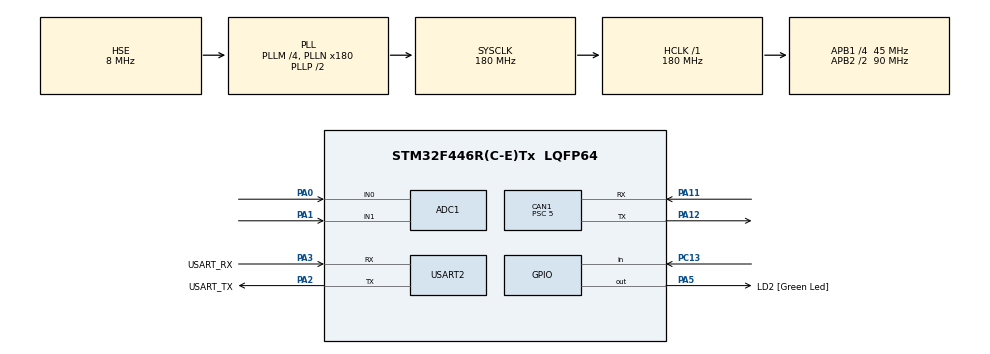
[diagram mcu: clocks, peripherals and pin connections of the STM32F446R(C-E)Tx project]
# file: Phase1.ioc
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ADC1.Channel-0\#ChannelRegularConversion=ADC_CHANNEL_0
ADC1.Channel-1\#ChannelRegularConversion=ADC_CHANNEL_1
ADC1.NbrOfConversion=2
ADC1.NbrOfConversionFlag=1
ADC1.Rank-0\#ChannelRegularConversion=1
ADC1.Rank-1\#ChannelRegularConversion=2
ADC1.SamplingTime-0\#ChannelRegularConversion=ADC_SAMPLETIME_3CYCLES
ADC1.SamplingTime-1\#ChannelRegularConversion=ADC_SAMPLETIME_3CYCLES
ADC1.ScanConvMode=ENABLE
ADC1.master=1
CAN1.ABOM=ENABLE
CAN1.BS1=CAN_BS1_14TQ
CAN1.BS2=CAN_BS2_3TQ
CAN1.CalculateBaudRate=500000
CAN1.CalculateTimeBit=2000
CAN1.CalculateTimeQuantum=111.11111111111111
CAN1.Mode=CAN_MODE_NORMAL
CAN1.NART=ENABLE
CAN1.Prescaler=5
Mcu.Family=STM32F4
Mcu.Name=STM32F446R(C-E)Tx
Mcu.Package=LQFP64
NVIC.PriorityGroup=NVIC_PRIORITYGROUP_0
PA0-WKUP.Signal=ADCx_IN0
PA1.Signal=ADCx_IN1
PA11.Mode=CAN_Activate
PA11.Signal=CAN1_RX
PA12.Mode=CAN_Activate
PA12.Signal=CAN1_TX
PA13.Signal=SYS_JTMS-SWDIO
PA14.GPIO_Label=TCK
PA14.Signal=SYS_JTCK-SWCLK
PA2.GPIO_Label=USART_TX
PA2.Mode=Asynchronous
PA2.Signal=USART2_TX
PA3.GPIO_Label=USART_RX
PA3.Mode=Asynchronous
PA3.Signal=USART2_RX
PA5.GPIO_Label=LD2 [Green Led]
PA5.Signal=GPIO_Output
PB3.GPIO_Label=SWO
PB3.Signal=SYS_JTDO-SWO
PC13.Signal=GPIO_Input
PC14-OSC32_IN.Mode=LSE-External-Oscillator
PC14-OSC32_IN.Signal=RCC_OSC32_IN
PC15-OSC32_OUT.Mode=LSE-External-Oscillator
PC15-OSC32_OUT.Signal=RCC_OSC32_OUT
PH0-OSC_IN.Mode=HSE-External-Clock-Source
PH0-OSC_IN.Signal=RCC_OSC_IN
PH1-OSC_OUT.Mode=HSE-External-Clock-Source
PH1-OSC_OUT.Signal=RCC_OSC_OUT
ProjectManager.HeapSize=0x200
ProjectManager.StackSize=0x400
ProjectManager.TargetToolchain=STM32CubeIDE
RCC.48MHZClocksFreq_Value=84000000
RCC.AHBFreq_Value=180000000
RCC.APB1CLKDivider=RCC_HCLK_DIV4
RCC.APB1Freq_Value=45000000
RCC.APB1TimFreq_Value=90000000
RCC.APB2CLKDivider=RCC_HCLK_DIV2
RCC.APB2Freq_Value=90000000
RCC.APB2TimFreq_Value=180000000
RCC.CortexFreq_Value=180000000
RCC.FLatency-AdvancedSettings=FLASH_LATENCY_5
RCC.HCLKFreq_Value=180000000
RCC.HSE_VALUE=8000000
RCC.HSI_VALUE=16000000
RCC.PLLM=4
RCC.PLLN=180
RCC.PLLSourceVirtual=RCC_PLLSOURCE_HSE
RCC.SYSCLKFreq_VALUE=180000000
RCC.SYSCLKSource=RCC_SYSCLKSOURCE_PLLCLK
RCC.USBFreq_Value=180000000
RCC.VCOOutputFreq_Value=360000000
SH.ADCx_IN0.0=ADC1_IN0,IN0
SH.ADCx_IN1.0=ADC1_IN1,IN1
USART2.VirtualMode=VM_ASYNC
board=NUCLEO-F446RE

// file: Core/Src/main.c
/* USER CODE BEGIN Header */
/**
  ******************************************************************************
  * @file           : main.c
  * @brief          : NODE A - Driver Interface Unit (DIU)
  * Reads Accelerator & Brake -> Sends via CAN FD/Std
  ******************************************************************************
  */
/* USER CODE END Header */
#include "main.h"

ADC_HandleTypeDef hadc1;
CAN_HandleTypeDef hcan1;
UART_HandleTypeDef huart2;

/* USER CODE BEGIN PV */
// --- CAN VARIABLES ---
CAN_TxHeaderTypeDef TxHeader;
uint32_t TxMailbox;
uint8_t TxData[8];

// --- SENSOR DATA ---
uint16_t raw_brake = 0;
uint16_t raw_accel = 0;
uint8_t brake_pedal_pct = 0;
uint8_t accel_pedal_pct = 0;
/* USER CODE END PV */

void SystemClock_Config(void);
static void MX_GPIO_Init(void);
static void MX_USART2_UART_Init(void);
static void MX_CAN1_Init(void);
static void MX_ADC1_Init(void);

int main(void)
{
  /* MCU Configuration--------------------------------------------------------*/
  HAL_Init();
  SystemClock_Config(); // 180 MHz Clock

  /* Initialize all configured peripherals */
  MX_GPIO_Init();
  MX_USART2_UART_Init();
  MX_CAN1_Init();
  MX_ADC1_Init();

  /* USER CODE BEGIN 2 */
  // 1. CONFIGURE CAN HEADER
  TxHeader.StdId = 0x102;          // ID 0x102 (Driver Command)
  TxHeader.ExtId = 0x01;
  TxHeader.RTR = CAN_RTR_DATA;
  TxHeader.IDE = CAN_ID_STD;
  TxHeader.DLC = 8;                // 8 Bytes of Data
  TxHeader.TransmitGlobalTime = DISABLE;

  // 2. START CAN BUS
  if (HAL_CAN_Start(&hcan1) != HAL_OK)
  {
    Error_Handler();
  }
  /* USER CODE END 2 */

  /* Infinite loop */
  /* USER CODE BEGIN WHILE */
    while (1)
    {
        /* --- ROBUST MANUAL SAMPLING --- */
        ADC_ChannelConfTypeDef sConfig = {0};

        // 1. READ BRAKE (Channel 0)
        sConfig.Channel = ADC_CHANNEL_0;
        sConfig.Rank = 1;
        sConfig.SamplingTime = ADC_SAMPLETIME_3CYCLES;
        HAL_ADC_ConfigChannel(&hadc1, &sConfig);

        HAL_ADC_Start(&hadc1);
        if (HAL_ADC_PollForConversion(&hadc1, 10) == HAL_OK)
        {
            raw_brake = HAL_ADC_GetValue(&hadc1);
        }
        HAL_ADC_Stop(&hadc1);

        // 2. READ ACCELERATOR (Channel 1)
        sConfig.Channel = ADC_CHANNEL_1;
        sConfig.Rank = 1;
        HAL_ADC_ConfigChannel(&hadc1, &sConfig);

        HAL_ADC_Start(&hadc1);
        if (HAL_ADC_PollForConversion(&hadc1, 10) == HAL_OK)
        {
            raw_accel = HAL_ADC_GetValue(&hadc1);
        }
        HAL_ADC_Stop(&hadc1);

        /* --- CONVERT & SEND --- */
        brake_pedal_pct = (raw_brake * 100) / 4095;
        accel_pedal_pct = (raw_accel * 100) / 4095;

        // Safety Clamp
        if (brake_pedal_pct > 100) brake_pedal_pct = 100;
        if (accel_pedal_pct > 100) accel_pedal_pct = 100;

        // Pack CAN Frame
        TxData[0] = accel_pedal_pct;
        TxData[1] = brake_pedal_pct;

        if (HAL_CAN_GetTxMailboxesFreeLevel(&hcan1) > 0)
        {
            HAL_CAN_AddTxMessage(&hcan1, &TxHeader, TxData, &TxMailbox);
            // Toggle LED to confirm transmission
            HAL_GPIO_TogglePin(GPIOA, GPIO_PIN_5);
        }

        HAL_Delay(10);
    }
  /* USER CODE END WHILE */
}

void SystemClock_Config(void)
{
  RCC_OscInitTypeDef RCC_OscInitStruct = {0};
  RCC_ClkInitTypeDef RCC_ClkInitStruct = {0};

  __HAL_RCC_PWR_CLK_ENABLE();
  __HAL_PWR_VOLTAGESCALING_CONFIG(PWR_REGULATOR_VOLTAGE_SCALE1);

  RCC_OscInitStruct.OscillatorType = RCC_OSCILLATORTYPE_HSE;
  RCC_OscInitStruct.HSEState = RCC_HSE_BYPASS;
  RCC_OscInitStruct.PLL.PLLState = RCC_PLL_ON;
  RCC_OscInitStruct.PLL.PLLSource = RCC_PLLSOURCE_HSE;
  RCC_OscInitStruct.PLL.PLLM = 4;
  RCC_OscInitStruct.PLL.PLLN = 180;
  RCC_OscInitStruct.PLL.PLLP = RCC_PLLP_DIV2;
  RCC_OscInitStruct.PLL.PLLQ = 2;
  RCC_OscInitStruct.PLL.PLLR = 2;
  if (HAL_RCC_OscConfig(&RCC_OscInitStruct) != HAL_OK)
  {
    Error_Handler();
  }

  if (HAL_PWREx_EnableOverDrive() != HAL_OK)
  {
    Error_Handler();
  }

  RCC_ClkInitStruct.ClockType = RCC_CLOCKTYPE_HCLK|RCC_CLOCKTYPE_SYSCLK
                              |RCC_CLOCKTYPE_PCLK1|RCC_CLOCKTYPE_PCLK2;
  RCC_ClkInitStruct.SYSCLKSource = RCC_SYSCLKSOURCE_PLLCLK;
  RCC_ClkInitStruct.AHBCLKDivider = RCC_SYSCLK_DIV1;
  RCC_ClkInitStruct.APB1CLKDivider = RCC_HCLK_DIV4;
  RCC_ClkInitStruct.APB2CLKDivider = RCC_HCLK_DIV2;

  if (HAL_RCC_ClockConfig(&RCC_ClkInitStruct, FLASH_LATENCY_5) != HAL_OK)
  {
    Error_Handler();
  }
}

static void MX_ADC1_Init(void)
{
  ADC_ChannelConfTypeDef sConfig = {0};

  hadc1.Instance = ADC1;
  hadc1.Init.ClockPrescaler = ADC_CLOCK_SYNC_PCLK_DIV4;
  hadc1.Init.Resolution = ADC_RESOLUTION_12B;
  hadc1.Init.ScanConvMode = DISABLE; // Changed to ENABLE for 2 channels
  hadc1.Init.ContinuousConvMode = DISABLE;
  hadc1.Init.DiscontinuousConvMode = DISABLE;
  hadc1.Init.ExternalTrigConvEdge = ADC_EXTERNALTRIGCONVEDGE_NONE;
  hadc1.Init.ExternalTrigConv = ADC_SOFTWARE_START;
  hadc1.Init.DataAlign = ADC_DATAALIGN_RIGHT;
  hadc1.Init.NbrOfConversion = 1; // Reading 2 Channels
  hadc1.Init.DMAContinuousRequests = DISABLE;
  hadc1.Init.EOCSelection = ADC_EOC_SINGLE_CONV;
  if (HAL_ADC_Init(&hadc1) != HAL_OK)
  {
    Error_Handler();
  }

  // RANK 1: BRAKE (PA0)
  sConfig.Channel = ADC_CHANNEL_0;
  sConfig.Rank = 1;
  sConfig.SamplingTime = ADC_SAMPLETIME_3CYCLES;
  if (HAL_ADC_ConfigChannel(&hadc1, &sConfig) != HAL_OK)
  {
    Error_Handler();
  }

  // RANK 2: ACCELERATOR (PA1)
  sConfig.Channel = ADC_CHANNEL_1;
  sConfig.Rank = 2;
  if (HAL_ADC_ConfigChannel(&hadc1, &sConfig) != HAL_OK)
  {
    Error_Handler();
  }
}

static void MX_CAN1_Init(void)
{
  hcan1.Instance = CAN1;
  // INDUSTRY STANDARD 500kbps @ 45MHz Clock
  hcan1.Init.Prescaler = 5;
  hcan1.Init.Mode = CAN_MODE_NORMAL;
  hcan1.Init.SyncJumpWidth = CAN_SJW_1TQ;
  hcan1.Init.TimeSeg1 = CAN_BS1_14TQ;
  hcan1.Init.TimeSeg2 = CAN_BS2_3TQ;
  hcan1.Init.TimeTriggeredMode = DISABLE;
  hcan1.Init.AutoBusOff = ENABLE;
  hcan1.Init.AutoWakeUp = DISABLE;
  hcan1.Init.AutoRetransmission = ENABLE;
  hcan1.Init.ReceiveFifoLocked = DISABLE;
  hcan1.Init.TransmitFifoPriority = DISABLE;
  if (HAL_CAN_Init(&hcan1) != HAL_OK)
  {
    Error_Handler();
  }
}

static void MX_USART2_UART_Init(void)
{
  huart2.Instance = USART2;
  huart2.Init.BaudRate = 115200;
  huart2.Init.WordLength = UART_WORDLENGTH_8B;
  huart2.Init.StopBits = UART_STOPBITS_1;
  huart2.Init.Parity = UART_PARITY_NONE;
  huart2.Init.Mode = UART_MODE_TX_RX;
  huart2.Init.HwFlowCtl = UART_HWCONTROL_NONE;
  huart2.Init.OverSampling = UART_OVERSAMPLING_16;
  if (HAL_UART_Init(&huart2) != HAL_OK)
  {
    Error_Handler();
  }
}

static void MX_GPIO_Init(void)
{
  GPIO_InitTypeDef GPIO_InitStruct = {0};

  __HAL_RCC_GPIOA_CLK_ENABLE();
  __HAL_RCC_GPIOC_CLK_ENABLE();
  __HAL_RCC_GPIOH_CLK_ENABLE();

  /* 1. Configure LED (PA5) */
  HAL_GPIO_WritePin(GPIOA, GPIO_PIN_5, GPIO_PIN_RESET);
  GPIO_InitStruct.Pin = GPIO_PIN_5;
  GPIO_InitStruct.Mode = GPIO_MODE_OUTPUT_PP;
  GPIO_InitStruct.Pull = GPIO_NOPULL;
  GPIO_InitStruct.Speed = GPIO_SPEED_FREQ_LOW;
  HAL_GPIO_Init(GPIOA, &GPIO_InitStruct);

  /* 2. Configure CAN1 Pins (PA11=RX, PA12=TX) */
  // CRITICAL: Alternate Function 9 is CAN1
  GPIO_InitStruct.Pin = GPIO_PIN_11 | GPIO_PIN_12;
  GPIO_InitStruct.Mode = GPIO_MODE_AF_PP;
  GPIO_InitStruct.Pull = GPIO_NOPULL;
  GPIO_InitStruct.Speed = GPIO_SPEED_FREQ_VERY_HIGH;
  GPIO_InitStruct.Alternate = GPIO_AF9_CAN1;
  HAL_GPIO_Init(GPIOA, &GPIO_InitStruct);

  /* 3. Configure ADC Pins (PA0, PA1) */
  GPIO_InitStruct.Pin = GPIO_PIN_0 | GPIO_PIN_1;
  GPIO_InitStruct.Mode = GPIO_MODE_ANALOG;
  GPIO_InitStruct.Pull = GPIO_NOPULL;
  HAL_GPIO_Init(GPIOA, &GPIO_InitStruct);
}

void Error_Handler(void)
{
  __disable_irq();
  while (1)
  {
  }
}
